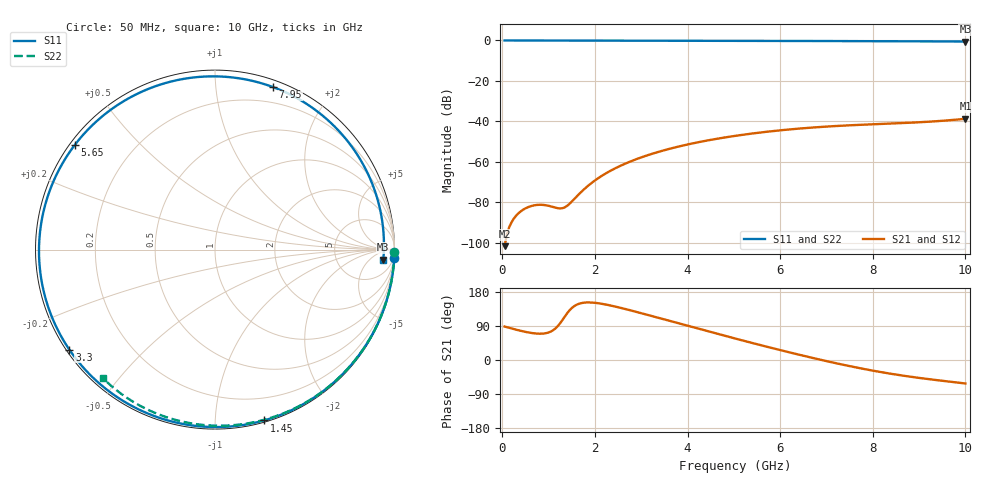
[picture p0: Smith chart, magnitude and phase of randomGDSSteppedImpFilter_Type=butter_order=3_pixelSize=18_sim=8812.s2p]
! freq	dB(S11)	phase(S11)	dB(S12)	phase(S12)
!  dB(S21)	phase(S21)	dB(S22)	phase(S22)
!S-par simulation data
#  GHz  S  DB  R 50
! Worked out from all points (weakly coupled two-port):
!   200 points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, 50 MHz to 10 GHz, reference 50 ohm
!   highest |S21| = -38.74 dB at 10 GHz (marker M1); lowest = -101.8 dB at 50 MHz (marker M2)
!   lowest |S11| = -0.5 dB at 10 GHz (marker M3), VSWR 32.02, Z = 847 - j798 ohm
!   |S11| at or under -10 dB: nowhere
!   |S22| runs from -0.4 to 0.0 dB; largest |S21 - S12| = 0
!   S11 on the Smith chart (normalised r, x): 50 MHz: 0, -42; 1.45 GHz: 0.01, -1.33; 3.3 GHz: 0.01, -0.31; 5.65 GHz: 0.01, +0.33; 7.95 GHz: 0.06, +1.42; 10 GHz: 17, -16
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0.05  -0.00 -2.7  -101.75 88.3  -101.75 88.3  -0.00 -0.8
0.4  -0.03 -21.6  -84.50 76.9  -84.50 76.9  -0.01 -6.1
0.8  -0.05 -42.4  -81.28 69.4  -81.28 69.4  -0.02 -12.1
1.15  -0.07 -59.8  -82.71 83.5  -82.71 83.5  -0.02 -17.3
1.45  -0.08 -74.0  -80.84 130.9  -80.84 130.9  -0.03 -21.7
1.5  -0.09 -76.2  -79.72 137.1  -79.72 137.1  -0.03 -22.5
1.75  -0.10 -87.3  -73.94 151.1  -73.94 151.1  -0.03 -26.2
2.05  -0.11 -99.9  -68.45 150.2  -68.45 150.2  -0.04 -30.5
2.4  -0.11 -113.7  -63.68 142.1  -63.68 142.1  -0.05 -35.6
2.85  -0.13 -130.2  -59.11 128.4  -59.11 128.4  -0.05 -42.1
3.3  -0.14 -145.5  -55.60 113.6  -55.60 113.6  -0.06 -48.4
3.4  -0.14 -148.8  -54.92 110.3  -54.92 110.3  -0.07 -49.8
4.2  -0.16 -173.9  -50.49 83.7  -50.49 83.7  -0.09 -60.8
5.05  -0.20 160.8  -47.12 55.9  -47.12 55.9  -0.11 -72.1
5.65  -0.22 143.1  -45.32 37.0  -45.32 37.0  -0.13 -79.8
6.7  -0.27 111.2  -43.07 5.5  -43.07 5.5  -0.18 -92.9
7.35  -0.31 90.4  -42.14 -12.3  -42.14 -12.3  -0.22 -100.8
7.95  -0.34 70.3  -41.51 -26.9  -41.51 -26.9  -0.26 -107.8
8.35  -0.37 56.4  -41.14 -35.5  -41.14 -35.5  -0.29 -112.5
9.2  -0.44 25.9  -40.21 -50.4  -40.21 -50.4  -0.36 -122.2
9.6  -0.48 11.3  -39.57 -56.3  -39.57 -56.3  -0.40 -126.7
10  -0.54 -3.4  -38.74 -62.0  -38.74 -62.0  -0.44 -131.2
